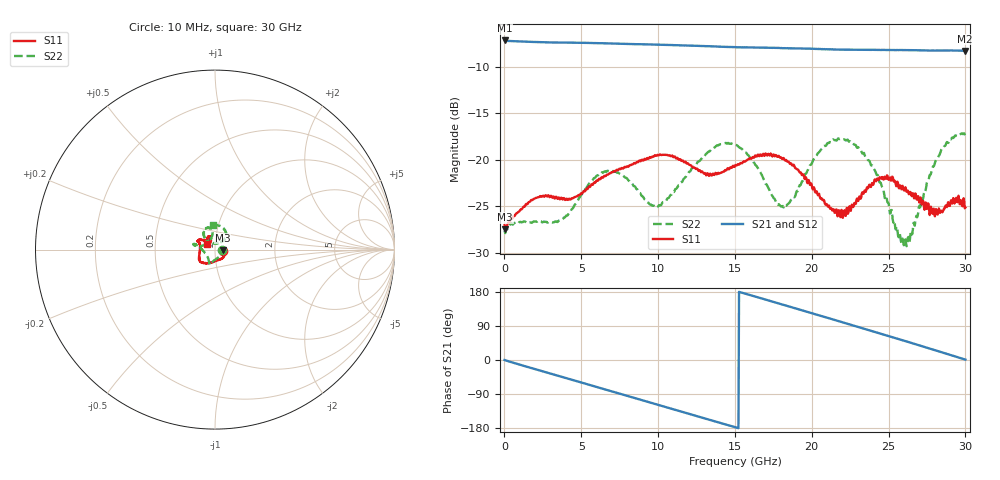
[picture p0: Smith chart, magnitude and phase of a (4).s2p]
! Device:  ADRF5700
! Description: 2 dB LSB, 5-Bit, Silicon Digital Attenuator, 100 MHz to 22 GHz
! Frequency:  10MHz -  30.00 GHz
! Ports:
!  RF1 = Port 1
!  RF2 = Port 2
! VDD  =  +3.30 Volts
! VSS  =  -3.30 Volts
! State:  6.00 dB attenuation
! Data:  Data was collected using an calibrated 4 port network analyzer
!  The reference plane is the edge of the device.
! Notes: Analog Devices supplies this data as a sample of measured data
!  for this product.  Your particular data for this product may vary.
!  Data was taken at 25 degrees C.
!  Analog Devices reserves the right to change this data at anytime.
# GHz S  dB  R 50
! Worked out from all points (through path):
!   801 points, 10 MHz to 30 GHz, reference 50 ohm
!   highest |S21| = -7.17 dB at 10 MHz (marker M1); lowest = -8.3 dB at 29.96 GHz (marker M2)
!   group delay of S21, straight-line fit = 33 ps
!   lowest |S11| = -27.5 dB at 47.5 MHz (marker M3), VSWR 1.09, Z = 54.4 - j0.207 ohm
!   |S11| at or under -10 dB: start of sweep to end of sweep
!   |S22| runs from -29.3 to -17.2 dB; largest |S21 - S12| = 0.0047
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0.01  -27.02 -11.9  -7.17 -0.1  -7.17 0.1  -27.62 -4.8
0.0475  -27.46 -2.6  -7.22 -0.6  -7.19 -0.6  -27.89 6.0
1.8844  -24.25 -32.3  -7.33 -22.8  -7.31 -22.8  -26.66 -26.6
3.5713  -24.14 -56.2  -7.40 -42.5  -7.36 -42.4  -26.54 -63.7
5.0333  -23.62 -91.1  -7.43 -59.7  -7.39 -59.7  -23.72 -98.5
7.0202  -21.34 -118.0  -7.51 -83.2  -7.47 -83.1  -21.23 -110.4
10.0192  -19.52 -139.9  -7.62 -118.6  -7.58 -118.4  -24.97 -153.0
13.3556  -21.57 177.2  -7.79 -157.9  -7.76 -157.7  -19.09 165.1
15.005  -20.66 157.7  -7.90 -177.2  -7.86 -176.9  -18.39 167.7
18.0415  -19.84 147.6  -7.99 146.9  -7.95 147.3  -25.05 136.2
18.8287  -20.55 144.3  -8.02 137.6  -7.98 137.9  -24.02 114.0
20.0283  -23.01 137.6  -8.06 123.1  -8.03 123.6  -20.31 98.0
21.5653  -25.45 123.0  -8.15 104.9  -8.12 105.3  -17.90 108.2
22.465  -24.99 118.0  -8.17 94.2  -8.14 94.7  -18.03 116.8
23.8895  -22.70 110.2  -8.19 77.0  -8.15 77.5  -20.63 129.2
25.0142  -22.15 115.9  -8.20 63.3  -8.16 63.8  -24.77 130.6
25.7264  -22.87 125.5  -8.20 54.5  -8.16 55.0  -27.92 109.4
26.2513  -23.32 135.9  -8.21 48.0  -8.17 48.5  -28.41 78.5
28.1631  -25.85 160.7  -8.26 24.1  -8.21 24.6  -19.91 52.9
29.1003  -24.57 152.1  -8.25 12.3  -8.22 12.8  -17.70 71.1
29.9625  -25.23 148.9  -8.30 1.4  -8.25 2.0  -17.27 92.9
30  -25.14 145.0  -8.29 1.0  -8.25 1.5  -17.33 94.1
